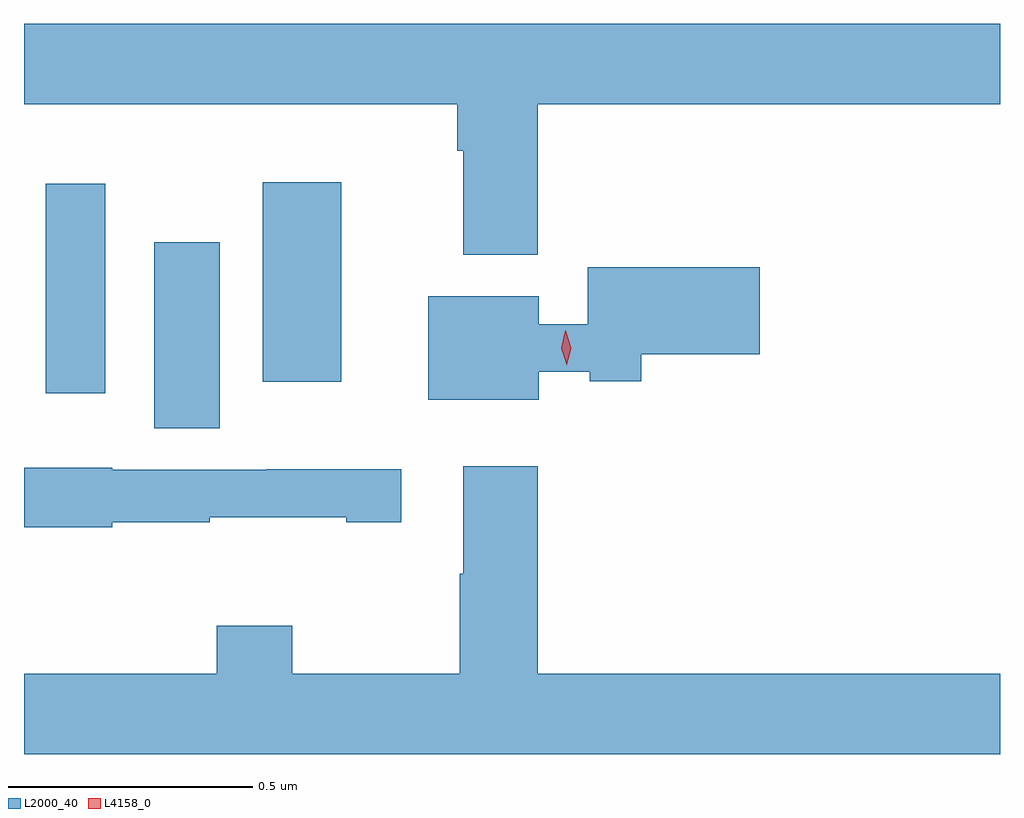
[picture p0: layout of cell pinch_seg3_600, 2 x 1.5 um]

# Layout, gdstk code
import gdstk
lib = gdstk.Library(unit=1e-6, precision=1e-09)
def R(c, l, rs):  # rectangles x0, y0, x1, y1
    for r in rs: c.add(gdstk.rectangle(r[:2], r[2:], *l))
def P(c, l, *ps):  # polygons
    for p in ps: c.add(gdstk.Polygon(p, *l))
L2000_40 = (2000, 40)
L4158_0 = (4158, 0)

pinch_seg3_600 = lib.new_cell('pinch_seg3_600')
R(pinch_seg3_600, L2000_40, [(1018.952,704.248,1019.086,704.629), (1018.73,704.319,1018.852,704.749), (1019.174,704.343,1019.335,704.752)])
P(pinch_seg3_600, L2000_40, [(1019.738,704.912),(1020.685,704.912),(1020.685,705.076),(1018.685,705.076),(1018.685,704.912),(1019.573,704.912),(1019.573,704.816),(1019.585,704.816),(1019.585,704.603),(1019.738,704.603)],
  [(1019.74,704.363),(1019.844,704.363),(1019.844,704.344),(1019.95,704.344),(1019.95,704.399),(1020.193,704.399),(1020.193,704.577),(1019.84,704.577),(1019.84,704.461),(1019.74,704.461),(1019.74,704.518),(1019.513,704.518),(1019.513,704.306),(1019.74,704.306)],
  [(1020.685,703.744),(1019.738,703.744),(1019.738,704.17),(1019.585,704.17),(1019.585,703.949),(1019.578,703.949),(1019.578,703.744),(1019.235,703.744),(1019.235,703.843),(1019.08,703.843),(1019.08,703.744),(1018.685,703.744),(1018.685,703.58),(1020.685,703.58)],
  [(1018.866,704.055),(1019.066,704.055),(1019.066,704.065),(1019.345,704.065),(1019.345,704.055),(1019.458,704.055),(1019.458,704.164),(1019.182,704.164),(1019.182,704.163),(1018.866,704.163),(1018.866,704.167),(1018.685,704.167),(1018.685,704.045),(1018.866,704.045)])
P(pinch_seg3_600, L4158_0, [(1019.797,704.377),(1019.797,704.378),(1019.786,704.412),(1019.794,704.447),(1019.794,704.447),(1019.795,704.447),(1019.806,704.412),(1019.797,704.378)])

lib.write_gds('pinch_seg3_600.gds')
